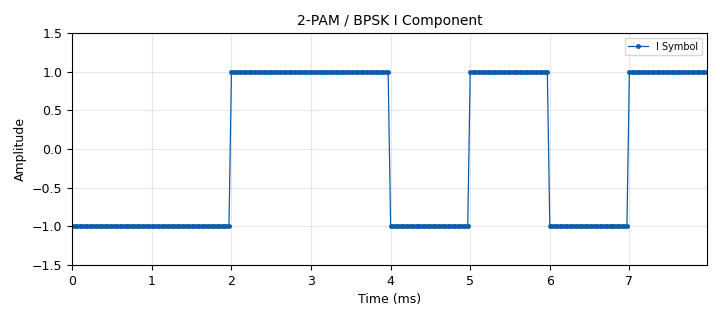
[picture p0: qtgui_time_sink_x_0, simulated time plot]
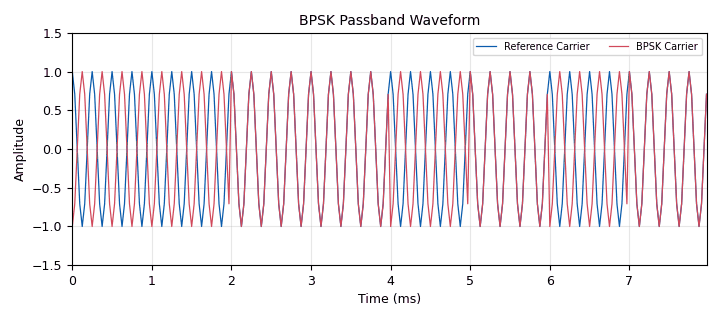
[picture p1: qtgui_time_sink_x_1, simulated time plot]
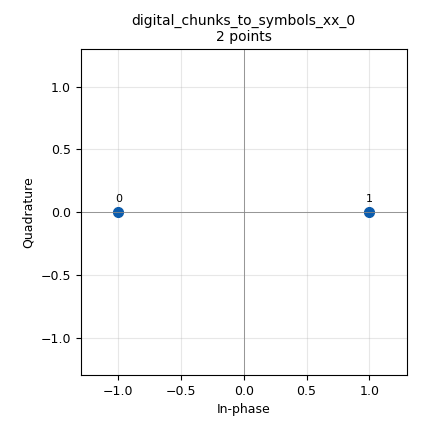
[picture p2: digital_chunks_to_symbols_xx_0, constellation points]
options:
  parameters:
    author: Dhrubjun
    generate_options: qt_gui
    id: exp2
    output_language: python
    title: Seeing the BPSK Phase Shift
  states: {}

blocks:
- name: carrier_freq
  id: variable
  parameters:
    value: '4000'
  states: {}
- name: samp_rate
  id: variable
  parameters:
    value: '32000'
  states: {}
- name: samples_per_symbol
  id: variable
  parameters:
    value: int(samp_rate/symbol_rate)
  states: {}
- name: symbol_rate
  id: variable
  parameters:
    value: '1000'
  states: {}
- name: analog_sig_source_x_0
  id: analog_sig_source_x
  parameters:
    amp: '1'
    freq: carrier_freq
    offset: '0'
    phase: '0'
    samp_rate: samp_rate
    type: float
    waveform: analog.GR_COS_WAVE
  states: {}
- name: blocks_multiply_xx_0
  id: blocks_multiply_xx
  parameters:
    type: float
  states: {}
- name: blocks_repeat_0_0
  id: blocks_repeat
  parameters:
    interp: samples_per_symbol
    type: float
  states: {}
- name: blocks_throttle2_0
  id: blocks_throttle2
  parameters:
    samples_per_second: samp_rate
    type: byte
  states: {}
- name: blocks_vector_source_x_0
  id: blocks_vector_source_x
  parameters:
    repeat: 'True'
    type: byte
    vector: (0, 1, 0, 0, 1, 1, 0, 1)
  states: {}
- name: digital_chunks_to_symbols_xx_0
  id: digital_chunks_to_symbols_xx
  parameters:
    dimension: '1'
    in_type: byte
    out_type: float
    symbol_table: '[-1, 1]'
  states: {}
- name: qtgui_time_sink_x_0
  id: qtgui_time_sink_x
  parameters:
    grid: 'True'
    gui_hint: (0,0,1,1)
    label1: I Symbol
    marker1: '0'
    name: 2-PAM / BPSK I Component
    size: '256'
    srate: samp_rate
    style1: '2'
    type: float
    ymax: '1.5'
    ymin: '-1.5'
  states: {}
- name: qtgui_time_sink_x_1
  id: qtgui_time_sink_x
  parameters:
    grid: 'True'
    gui_hint: (1,0,1,1)
    label1: Reference Carrier
    label2: BPSK Carrier
    name: BPSK Passband Waveform
    nconnections: '2'
    size: '256'
    srate: samp_rate
    type: float
    ymax: '1.5'
    ymin: '-1.5'
  states: {}

connections:
- [analog_sig_source_x_0, '0', blocks_multiply_xx_0, '1']
- [analog_sig_source_x_0, '0', qtgui_time_sink_x_1, '0']
- [blocks_multiply_xx_0, '0', qtgui_time_sink_x_1, '1']
- [blocks_repeat_0_0, '0', blocks_multiply_xx_0, '0']
- [blocks_repeat_0_0, '0', qtgui_time_sink_x_0, '0']
- [blocks_throttle2_0, '0', digital_chunks_to_symbols_xx_0, '0']
- [blocks_vector_source_x_0, '0', blocks_throttle2_0, '0']
- [digital_chunks_to_symbols_xx_0, '0', blocks_repeat_0_0, '0']

metadata:
  file_format: 1
  grc_version: 3.10.12.0
